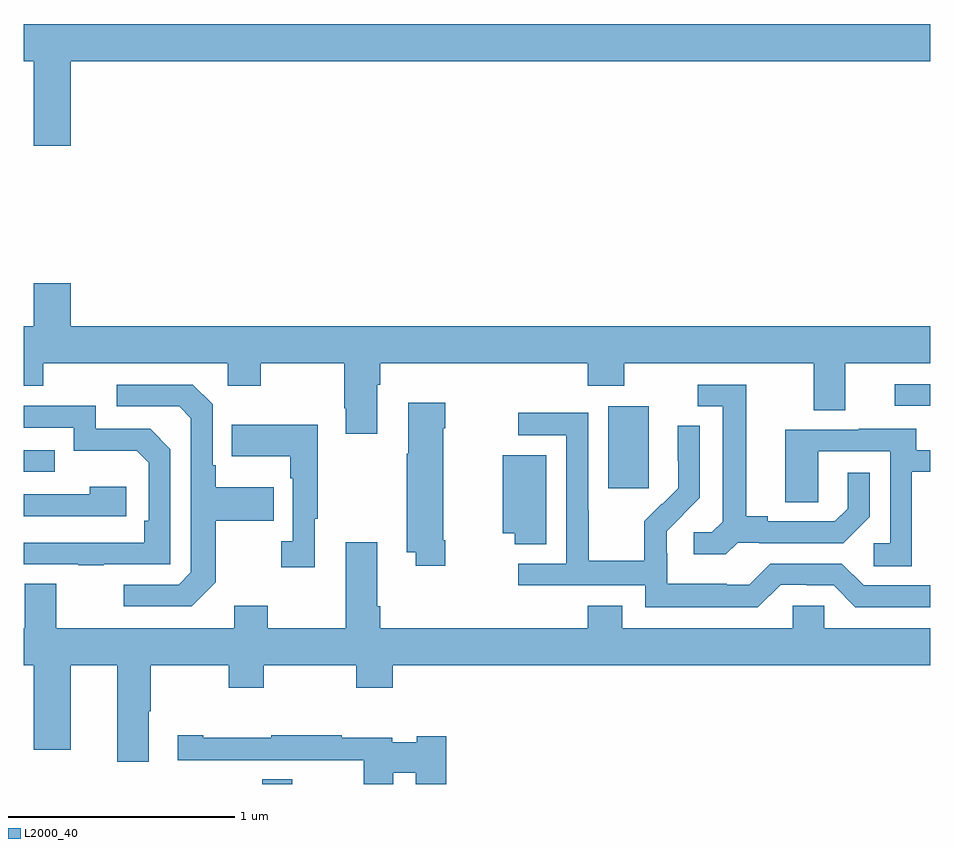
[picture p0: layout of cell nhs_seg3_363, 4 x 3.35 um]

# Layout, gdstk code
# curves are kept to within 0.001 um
import gdstk
lib = gdstk.Library(unit=1e-6, precision=1e-09)
def R(c, l, rs):  # rectangles x0, y0, x1, y1
    for r in rs: c.add(gdstk.rectangle(r[:2], r[2:], *l))
def P(c, l, *ps):  # polygons
    for p in ps: c.add(gdstk.Polygon(p, *l))
L2000_40 = (2000, 40)

nhs_seg3_363 = lib.new_cell('nhs_seg3_363')
R(nhs_seg3_363, L2000_40, [(130.052,692.4,130.186,692.42), (131.579,693.705,131.758,694.066), (129,693.777,129.137,693.873), (132.843,694.068,133,694.164)])
P(nhs_seg3_363, L2000_40, [(129.208,695.588),(133,695.588),(133,695.752),(129,695.752),(129,695.588),(129.044,695.588),(129.044,695.214),(129.208,695.214)],
  [(130.561,694.16),(130.574,694.16),(130.574,694.256),(131.489,694.256),(131.489,694.157),(131.649,694.157),(131.649,694.256),(132.485,694.256),(132.485,694.048),(132.625,694.048),(132.625,694.256),(133,694.256),(133,694.42),(129.208,694.42),(129.208,694.609),(129.044,694.609),(129.044,694.42),(129,694.42),(129,694.157),(129.087,694.157),(129.087,694.256),(129.9,694.256),(129.9,694.157),(130.047,694.157),(130.047,694.256),(130.414,694.256),(130.414,694.057),(130.421,694.057),(130.421,693.945),(130.561,693.945)],
  [(132.15,693.465),(132.244,693.465),(132.244,693.462),(132.616,693.462),(132.732,693.578),(132.732,693.772),(132.635,693.772),(132.635,693.615),(132.578,693.558),(132.283,693.558),(132.283,693.581),(132.187,693.581),(132.187,694.161),(131.973,694.161),(131.973,694.065),(132.083,694.065),(132.083,693.557),(132.036,693.51),(131.955,693.51),(131.955,693.413),(132.098,693.413)],
  [(129.847,693.289),(129.847,693.562),(130.103,693.562),(130.103,693.709),(129.847,693.709),(129.847,693.805),(129.834,693.805),(129.834,694.074),(129.747,694.161),(129.411,694.161),(129.411,694.065),(129.687,694.065),(129.738,694.014),(129.738,693.333),(129.684,693.279),(129.441,693.279),(129.441,693.183),(129.741,693.183)],
  [(130.86,693.475),(130.852,693.475),(130.852,693.968),(130.86,693.968),(130.86,694.081),(130.697,694.081),(130.697,693.857),(130.69,693.857),(130.69,693.422),(130.73,693.422),(130.73,693.363),(130.86,693.363)],
  [(129.353,693.369),(129.648,693.369),(129.648,693.876),(129.558,693.966),(129.318,693.966),(129.318,694.068),(129,694.068),(129,693.972),(129.222,693.972),(129.222,693.869),(129.499,693.869),(129.552,693.816),(129.552,693.562),(129.532,693.562),(129.532,693.465),(129,693.465),(129,693.369),(129.241,693.369),(129.241,693.364),(129.353,693.364)],
  [(132.339,693.279),(132.455,693.279),(132.455,693.276),(132.573,693.276),(132.669,693.18),(133,693.18),(133,693.276),(132.705,693.276),(132.609,693.372),(132.294,693.372),(132.201,693.279),(132.101,693.279),(132.101,693.283),(131.838,693.283),(131.838,693.417),(131.836,693.417),(131.836,693.514),(131.982,693.662),(131.982,693.98),(131.886,693.98),(131.886,693.826),(131.888,693.826),(131.888,693.704),(131.817,693.633),(131.814,693.636),(131.737,693.559),(131.737,693.385),(131.493,693.385),(131.493,693.608),(131.49,693.608),(131.49,694.038),(131.181,694.038),(131.181,693.939),(131.394,693.939),(131.394,693.372),(131.181,693.372),(131.181,693.276),(131.742,693.276),(131.742,693.179),(132.239,693.179)],
  [(130.285,693.569),(130.297,693.569),(130.297,693.985),(129.919,693.985),(129.919,693.845),(130.176,693.845),(130.176,693.749),(130.188,693.749),(130.188,693.47),(130.137,693.47),(130.137,693.357),(130.285,693.357)],
  [(132.918,693.777),(133,693.777),(133,693.873),(132.937,693.873),(132.937,693.967),(132.683,693.967),(132.683,693.963),(132.359,693.963),(132.359,693.643),(132.504,693.643),(132.504,693.867),(132.822,693.867),(132.822,693.462),(132.75,693.462),(132.75,693.361),(132.918,693.361)],
  [(131.305,693.85),(131.114,693.85),(131.114,693.506),(131.167,693.506),(131.167,693.457),(131.305,693.457)],
  [(129.454,693.712),(129.293,693.712),(129.293,693.678),(129,693.678),(129,693.582),(129.454,693.582)],
  [(129.553,692.72),(129.561,692.72),(129.561,692.924),(129.904,692.924),(129.904,692.825),(130.059,692.825),(130.059,692.924),(130.468,692.924),(130.468,692.825),(130.628,692.825),(130.628,692.924),(133,692.924),(133,693.088),(132.531,693.088),(132.531,693.186),(132.393,693.186),(132.393,693.088),(131.641,693.088),(131.641,693.187),(131.489,693.187),(131.489,693.088),(130.574,693.088),(130.574,693.184),(130.561,693.184),(130.561,693.466),(130.421,693.466),(130.421,693.088),(130.077,693.088),(130.077,693.187),(129.929,693.187),(129.929,693.088),(129.145,693.088),(129.145,693.283),(129.005,693.283),(129.005,693.088),(129,693.088),(129,692.924),(129.044,692.924),(129.044,692.55),(129.208,692.55),(129.208,692.924),(129.413,692.924),(129.413,692.499),(129.553,692.499)],
  [(130.63,692.45),(130.73,692.45),(130.73,692.4),(130.864,692.4),(130.864,692.61),(130.734,692.61),(130.734,692.584),(130.626,692.584),(130.626,692.604),(130.403,692.604),(130.403,692.614),(130.093,692.614),(130.093,692.604),(129.793,692.604),(129.793,692.614),(129.681,692.614),(129.681,692.504),(129.956,692.504),(129.956,692.505),(130.29,692.505),(130.29,692.504),(130.5,692.504),(130.5,692.4),(130.63,692.4)])

lib.write_gds('nhs_seg3_363.gds')
